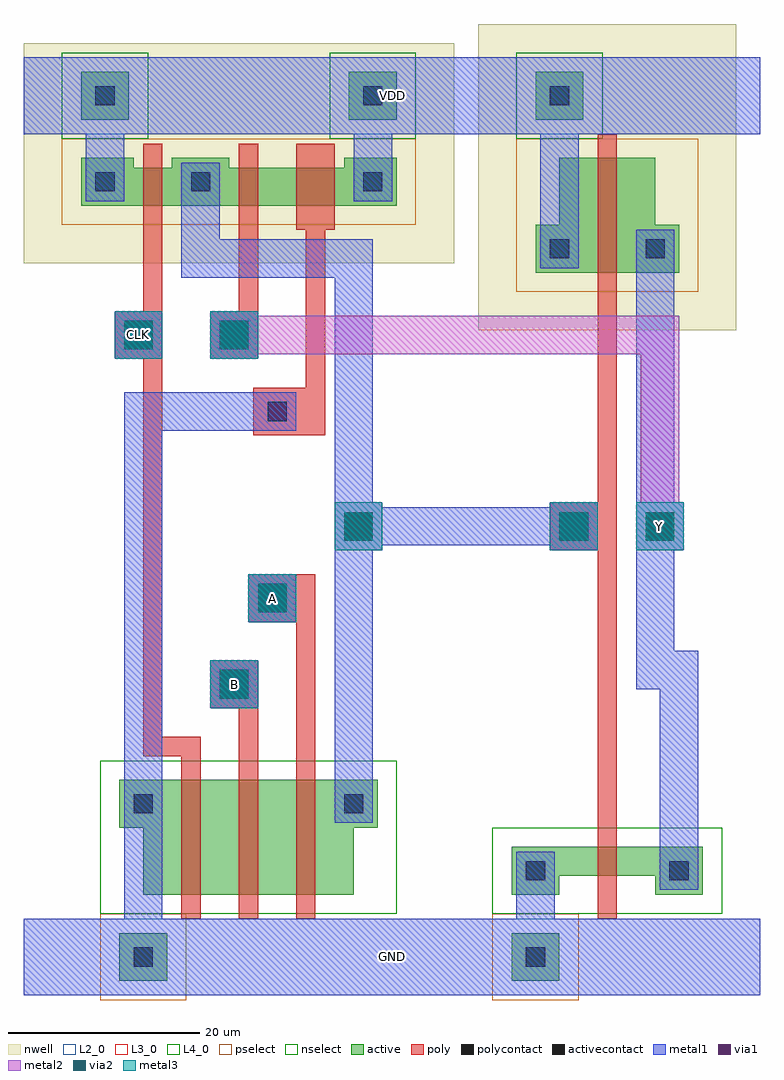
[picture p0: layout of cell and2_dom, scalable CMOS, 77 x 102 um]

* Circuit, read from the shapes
.subckt and2_dom A B CLK GND VDD Y
M1 n1 CLK GND GND nfet w=12u l=2u
M2 n2 B n1 GND nfet w=12u l=2u
M3 inv_hskew_0/X A n2 GND nfet w=12u l=2u
M4 Y inv_hskew_0/X GND GND nfet w=3u l=2u
M5 inv_hskew_0/X CLK VDD VDD pfet w=4u l=2u
M6 n3 Y inv_hskew_0/X VDD pfet w=4u l=2u
M7 VDD GND n3 VDD pfet w=4u l=4u
M8 Y inv_hskew_0/X VDD VDD pfet w=12u l=2u
.ends

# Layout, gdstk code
import gdstk
lib = gdstk.Library(unit=1e-6, precision=1e-09)
def R(c, l, rs):  # rectangles x0, y0, x1, y1
    for r in rs: c.add(gdstk.rectangle(r[:2], r[2:], *l))
def A(c, l, x, y, w, h, nx, ny, dx, dy):  # array of equal rectangles
    R(c, l, [(x+i*dx, y+j*dy, x+i*dx+w, y+j*dy+h) for i in range(nx) for j in range(ny)])
def P(c, l, *ps):  # polygons
    for p in ps: c.add(gdstk.Polygon(p, *l))
L2_0 = (2, 0)
L3_0 = (3, 0)
L4_0 = (4, 0)
nwell = (42, 0)
active = (43, 0)
pselect = (44, 0)
nselect = (45, 0)
poly = (46, 0)
polycontact = (47, 0)
activecontact = (48, 0)
metal1 = (49, 0)
via1 = (50, 0)
metal2 = (51, 0)
via2 = (61, 0)
metal3 = (62, 0)

inv_hskew = lib.new_cell('inv_hskew')
R(inv_hskew, L2_0, [(-11,-94.5,21,-86.5), (-11,-4.5,21,3.5)])
R(inv_hskew, L3_0, [(-1,-48,4,-43), (8,-48,13,-43)])
R(inv_hskew, nwell, [(-8.5,-25,18.5,7)])
R(inv_hskew, active, [(-5,-93,0,-88), (-2.5,-3,2.5,2)])
P(inv_hskew, active, [(-5,-84),(0,-84),(0,-82),(10,-82),(10,-84),(15,-84),(15,-79),(-5,-79)],
  [(-2.5,-19),(12.5,-19),(12.5,-14),(10,-14),(10,-7),(0,-7),(0,-14),(-2.5,-14)])
R(inv_hskew, pselect, [(-7,-95,2,-86), (-4.5,-21,14.5,-5)])
R(inv_hskew, nselect, [(-7,-86,17,-77), (-4.5,-5,4.5,4)])
R(inv_hskew, poly, [(4,-86.5,6,-78), (-1,-48,4,-43), (4,-13,6,-4.5)])
R(inv_hskew, polycontact, [(0.5,-46.5,2.5,-44.5)])
R(inv_hskew, activecontact, [(-3.5,-91.5,-1.5,-89.5), (-3.5,-82.5,-1.5,-80.5), (11.5,-82.5,13.5,-80.5), (-1,-17.5,1,-15.5), (9,-17.5,11,-15.5), (-1,-1.5,1,0.5)])
R(inv_hskew, metal1, [(-11,-94.5,21,-86.5), (-4.5,-92.5,-0.5,-88.5), (-4.5,-83.5,-0.5,-79.5), (10.5,-83.5,14.5,-79.5), (-1,-48,4,-43), (8,-48,13,-43), (-2,-18.5,2,-14.5), (8,-18.5,12,-14.5), (-11,-4.5,21,3.5), (-2,-2.5,2,1.5)])
R(inv_hskew, via1, [(0,-47,3,-44), (9,-47,12,-44)])
R(inv_hskew, metal2, [(-1,-48,4,-43), (8,-48,13,-43)])
inv_hskew.add(gdstk.FlexPath([(5,-13),(5,-78)], 2, ends="flush", simple_path=True, layer=46, datatype=0))  # poly
inv_hskew.add(gdstk.FlexPath([(10,-48),(10,-60.5),(12.5,-60.5),(12.5,-79.5)], 4, ends="flush", simple_path=True, layer=49, datatype=0))  # metal1
inv_hskew.add(gdstk.FlexPath([(-2.5,-83.5),(-2.5,-88.5)], 4, ends="flush", simple_path=True, layer=49, datatype=0))  # metal1
inv_hskew.add(gdstk.FlexPath([(0,-14.5),(0,-2.5)], 4, ends="flush", simple_path=True, layer=49, datatype=0))  # metal1
inv_hskew.add(gdstk.FlexPath([(10,-18.5),(10,-43)], 4, ends="flush", simple_path=True, layer=49, datatype=0))  # metal1
inv_hskew.add(gdstk.Label('VDD', (5,-0.5), layer=2, texttype=0))
inv_hskew.add(gdstk.Label('GND', (5,-90.5), layer=2, texttype=0))
inv_hskew.add(gdstk.Label('X', (1.5,-45.5), layer=3, texttype=0))
inv_hskew.add(gdstk.Label('Y', (10.5,-45.5), layer=3, texttype=0))

nand2_dyn = lib.new_cell('nand2_dyn')
R(nand2_dyn, L2_0, [(0,-99.5,45,-91.5), (0,-9.5,45,-1.5)])
R(nand2_dyn, L3_0, [(19.5,-69.5,24.5,-64.5), (23.5,-60.5,28.5,-55.5), (32.5,-53,37.5,-48), (9.5,-33,14.5,-28), (19.5,-33,24.5,-28)])
R(nand2_dyn, nwell, [(0,-23,45,0)])
R(nand2_dyn, active, [(10,-98,15,-93), (6,-8,11,-3), (34,-8,39,-3)])
P(nand2_dyn, active, [(6,-17),(39,-17),(39,-12),(33.5,-12),(33.5,-13),(21.5,-13),(21.5,-12),(15.5,-12),(15.5,-13),(11.5,-13),(11.5,-12),(6,-12)],
  [(10,-82),(12.5,-82),(12.5,-89),(34.5,-89),(34.5,-82),(37,-82),(37,-77),(10,-77)])
R(nand2_dyn, pselect, [(8,-100,17,-91), (4,-19,41,-10)])
R(nand2_dyn, nselect, [(8,-91,39,-75), (4,-10,13,-1), (32,-10,41,-1)])
A(nand2_dyn, poly, 16.5, -91.5, 2, 17, 3, 1, 6, 0)
R(nand2_dyn, poly, [(19.5,-69.5,24.5,-64.5), (23.5,-60.5,28.5,-55.5), (24,-41,29.5,-36), (9.5,-33,14.5,-28), (19.5,-33,24.5,-28), (12.5,-19.5,14.5,-10.5), (22.5,-19.5,24.5,-10.5), (28.5,-19.5,32.5,-10.5)])
R(nand2_dyn, polycontact, [(21,-68,23,-66), (25,-59,27,-57), (25.5,-39.5,27.5,-37.5), (11,-31.5,13,-29.5), (21,-31.5,23,-29.5)])
R(nand2_dyn, activecontact, [(11.5,-96.5,13.5,-94.5), (11.5,-80.5,13.5,-78.5), (33.5,-80.5,35.5,-78.5), (7.5,-15.5,9.5,-13.5), (17.5,-15.5,19.5,-13.5), (35.5,-15.5,37.5,-13.5), (7.5,-6.5,9.5,-4.5), (35.5,-6.5,37.5,-4.5)])
R(nand2_dyn, metal1, [(0,-99.5,45,-91.5), (10.5,-97.5,14.5,-93.5), (10.5,-81.5,14.5,-77.5), (32.5,-81.5,36.5,-77.5), (19.5,-69.5,24.5,-64.5), (23.5,-60.5,28.5,-55.5), (32.5,-53,37.5,-48), (24.5,-40.5,28.5,-36.5), (9.5,-33,14.5,-28), (19.5,-33,24.5,-28), (16.5,-24.5,36.5,-20.5), (6.5,-16.5,10.5,-12.5), (16.5,-16.5,20.5,-12.5), (34.5,-16.5,38.5,-12.5), (0,-9.5,45,-1.5), (6.5,-7.5,10.5,-3.5), (34.5,-7.5,38.5,-3.5)])
R(nand2_dyn, via1, [(20.5,-68.5,23.5,-65.5), (24.5,-59.5,27.5,-56.5), (33.5,-52,36.5,-49), (10.5,-32,13.5,-29), (20.5,-32,23.5,-29)])
R(nand2_dyn, metal2, [(19.5,-69.5,24.5,-64.5), (23.5,-60.5,28.5,-55.5), (32.5,-53,37.5,-48), (9.5,-33,14.5,-28), (19.5,-33,24.5,-28)])
nand2_dyn.add(gdstk.FlexPath([(29.5,-74.5),(29.5,-55.5)], 2, ends="flush", simple_path=True, layer=46, datatype=0))  # poly
nand2_dyn.add(gdstk.FlexPath([(13.5,-19.5),(13.5,-28)], 2, ends="flush", simple_path=True, layer=46, datatype=0))  # poly
nand2_dyn.add(gdstk.FlexPath([(17.5,-74.5),(17.5,-73.5),(13.5,-73.5),(13.5,-33)], 2, ends="flush", simple_path=True, layer=46, datatype=0))  # poly
nand2_dyn.add(gdstk.FlexPath([(30.5,-19.5),(30.5,-41)], 2, ends="flush", simple_path=True, layer=46, datatype=0))  # poly
nand2_dyn.add(gdstk.FlexPath([(23.5,-19.5),(23.5,-28)], 2, ends="flush", simple_path=True, layer=46, datatype=0))  # poly
nand2_dyn.add(gdstk.FlexPath([(23.5,-74.5),(23.5,-69.5)], 2, ends="flush", simple_path=True, layer=46, datatype=0))  # poly
nand2_dyn.add(gdstk.FlexPath([(34.5,-48),(34.5,-24.5)], 4, ends="flush", simple_path=True, layer=49, datatype=0))  # metal1
nand2_dyn.add(gdstk.FlexPath([(36.5,-12.5),(36.5,-7.5)], 4, ends="flush", simple_path=True, layer=49, datatype=0))  # metal1
nand2_dyn.add(gdstk.FlexPath([(18.5,-16.5),(18.5,-20.5)], 4, ends="flush", simple_path=True, layer=49, datatype=0))  # metal1
nand2_dyn.add(gdstk.FlexPath([(24.5,-38.5),(10.5,-38.5)], 4, ends="flush", simple_path=True, layer=49, datatype=0))  # metal1
nand2_dyn.add(gdstk.FlexPath([(12.5,-77.5),(12.5,-40.5)], 4, ends="flush", simple_path=True, layer=49, datatype=0))  # metal1
nand2_dyn.add(gdstk.FlexPath([(8.5,-12.5),(8.5,-7.5)], 4, ends="flush", simple_path=True, layer=49, datatype=0))  # metal1
nand2_dyn.add(gdstk.FlexPath([(12.5,-81.5),(12.5,-93.5)], 4, ends="flush", simple_path=True, layer=49, datatype=0))  # metal1
nand2_dyn.add(gdstk.FlexPath([(34.5,-77.5),(34.5,-53)], 4, ends="flush", simple_path=True, layer=49, datatype=0))  # metal1
nand2_dyn.add(gdstk.Label('CLK', (12,-30.5), layer=3, texttype=0))
nand2_dyn.add(gdstk.Label('Y', (22,-30.5), layer=3, texttype=0))
nand2_dyn.add(gdstk.Label('A', (26,-58), layer=3, texttype=0))
nand2_dyn.add(gdstk.Label('B', (22,-67), layer=3, texttype=0))
nand2_dyn.add(gdstk.Label('X', (35,-50.5), layer=3, texttype=0))
nand2_dyn.add(gdstk.Label('VDD', (22.5,-5.5), layer=2, texttype=0))
nand2_dyn.add(gdstk.Label('GND', (22.5,-95.5), layer=2, texttype=0))

and2_dom = lib.new_cell('and2_dom')
R(and2_dom, L2_0, [(0,-99.5,77,-91.5), (0,-9.5,77,-1.5)])
R(and2_dom, L4_0, [(19.5,-69.5,24.5,-64.5), (23.5,-60.5,28.5,-55.5), (32.5,-53,37.5,-48), (55,-53,60,-48), (64,-53,69,-48), (9.5,-33,14.5,-28), (19.5,-33,24.5,-28)])
R(and2_dom, via2, [(20.5,-68.5,23.5,-65.5), (24.5,-59.5,27.5,-56.5), (33.5,-52,36.5,-49), (56,-52,59,-49), (65,-52,68,-49), (10.5,-32,13.5,-29), (20.5,-32,23.5,-29)])
R(and2_dom, metal3, [(19.5,-69.5,24.5,-64.5), (23.5,-60.5,28.5,-55.5), (32.5,-53,37.5,-48), (55,-53,60,-48), (64,-53,69,-48), (9.5,-33,14.5,-28), (19.5,-33,24.5,-28)])
and2_dom.add(gdstk.FlexPath([(66.5,-48),(66.5,-30.5),(24.5,-30.5)], 4, ends="flush", simple_path=True, layer=51, datatype=0))  # metal2
and2_dom.add(gdstk.FlexPath([(37.5,-50.5),(55,-50.5)], 4, ends="flush", simple_path=True, layer=49, datatype=0))  # metal1
and2_dom.add(gdstk.Reference(inv_hskew, (56,-5)))
and2_dom.add(gdstk.Reference(nand2_dyn, (0,0)))
and2_dom.add(gdstk.Label('VDD', (38.5,-5.5), layer=2, texttype=0))
and2_dom.add(gdstk.Label('GND', (38.5,-95.5), layer=2, texttype=0))
and2_dom.add(gdstk.Label('CLK', (12,-30.5), layer=4, texttype=0))
and2_dom.add(gdstk.Label('B', (22,-67), layer=4, texttype=0))
and2_dom.add(gdstk.Label('A', (26,-58), layer=4, texttype=0))
and2_dom.add(gdstk.Label('Y', (66.5,-50.5), layer=4, texttype=0))

lib.write_gds('and2_dom.gds')
